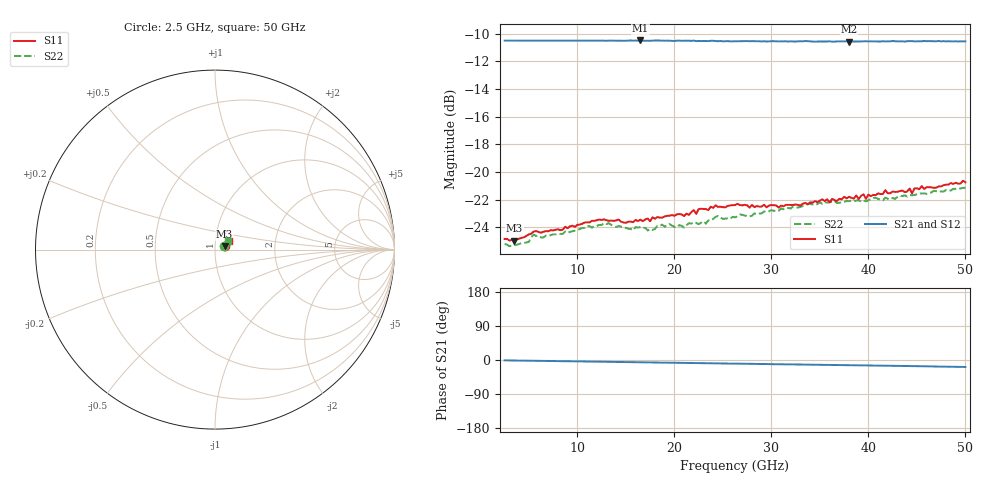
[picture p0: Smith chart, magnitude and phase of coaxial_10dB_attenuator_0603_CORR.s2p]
!Created with skrf (http://scikit-rf.org).
# Hz S RI R 50.0
!freq ReS11 ImS11 ReS21 ImS21 ReS12 ImS12 ReS22 ImS22
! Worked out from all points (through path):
!   191 points, 2.5 GHz to 50 GHz, reference 50 ohm
!   highest |S21| = -10.49 dB at 16.5 GHz (marker M1); lowest = -10.6 dB at 38 GHz (marker M2)
!   group delay of S21, straight-line fit = 1 ps
!   lowest |S11| = -25.0 dB at 3.5 GHz (marker M3), VSWR 1.12, Z = 55.6 + j1.95 ohm
!   |S11| at or under -10 dB: start of sweep to end of sweep
!   |S22| runs from -25.4 to -21.1 dB; largest |S21 - S12| = 0.00089
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2.5e9  0.0535 0.0205  0.2987 -0.00528  0.299 -0.00527  0.0512 0.0201
3.5e9  0.0537 0.0175  0.2986 -0.00699  0.2989 -0.00701  0.0515 0.0175
5e9  0.0567 0.0182  0.2985 -0.00971  0.2989 -0.00969  0.0528 0.0184
5.5e9  0.0581 0.0184  0.2984 -0.0107  0.2987 -0.0107  0.0563 0.0189
6.5e9  0.0584 0.0171  0.2983 -0.0125  0.2986 -0.0124  0.0556 0.0167
1.05e10  0.0621 0.0195  0.298 -0.02  0.2983 -0.02  0.06 0.0184
1.275e10  0.0646 0.0195  0.2974 -0.0244  0.2978 -0.0243  0.0626 0.019
1.575e10  0.0621 0.022  0.2972 -0.0297  0.2975 -0.03  0.0588 0.0185
1.65e10  0.0634 0.0226  0.2973 -0.0318  0.2977 -0.0318  0.0601 0.0198
1.725e10  0.0634 0.0244  0.2965 -0.0326  0.2968 -0.0327  0.0584 0.0194
1.85e10  0.0636 0.0252  0.2966 -0.0353  0.2969 -0.0354  0.0601 0.0217
2.1e10  0.0634 0.0279  0.2955 -0.0401  0.2959 -0.0403  0.0587 0.023
2.2e10  0.0662 0.0304  0.2958 -0.0417  0.2961 -0.0421  0.061 0.0248
2.225e10  0.0641 0.0296  0.2942 -0.0428  0.2946 -0.0429  0.0607 0.0246
2.325e10  0.0671 0.0299  0.2946 -0.0435  0.2949 -0.044  0.0598 0.0257
2.45e10  0.0683 0.0306  0.2935 -0.0463  0.2938 -0.0466  0.0639 0.0273
2.625e10  0.0691 0.0315  0.293 -0.0493  0.2934 -0.0494  0.0629 0.0275
3.075e10  0.0683 0.0296  0.291 -0.0576  0.2912 -0.0578  0.0645 0.033
3.425e10  0.0695 0.0343  0.2893 -0.064  0.2894 -0.0643  0.0677 0.0356
3.8e10  0.0724 0.0372  0.2875 -0.0703  0.2876 -0.0705  0.0693 0.037
4.225e10  0.0734 0.0406  0.2866 -0.0776  0.2866 -0.0776  0.0692 0.0397
5e10  0.0775 0.0493  0.2817 -0.0938  0.2817 -0.0939  0.0746 0.0463
